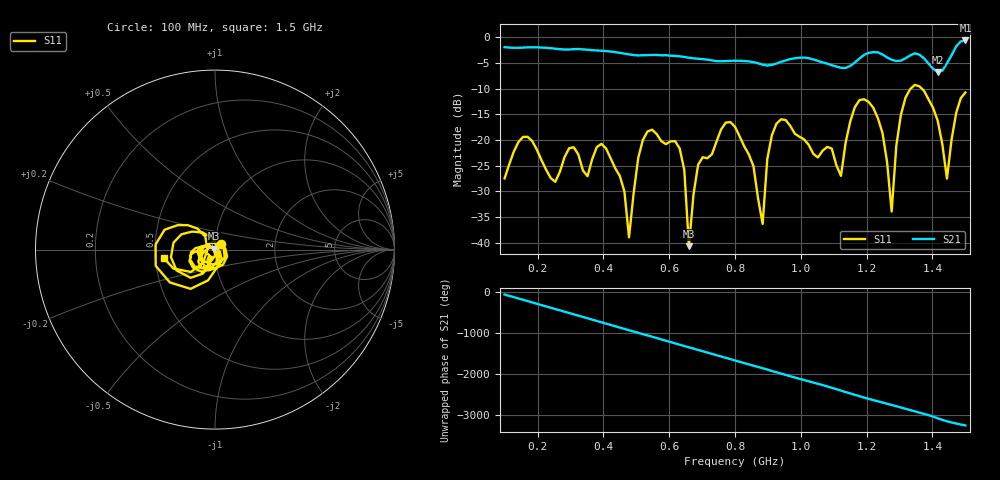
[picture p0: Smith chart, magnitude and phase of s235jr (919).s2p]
! NanoVNA-App
! Date: 2025-09-25 15:11:19
! Start: 100MHz Stop: 1,5GHz Points: 101
! S-Parameter data: F S11 S21 S12 S22
# Hz S RI R 50
!  Frequency  S11_Real  S11_Imag  S21_Real  S21_Imag  S12_Real  S12_Imag  S22_Real  S22_Imag
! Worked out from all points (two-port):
!   101 points, 100 MHz to 1.5 GHz, reference 50 ohm
!   highest |S21| = -0.66 dB at 1.5 GHz (marker M1); lowest = -6.8 dB at 1.416 GHz (marker M2)
!   |S21| within 3 dB of the highest: start of sweep to 615.4 MHz; 1.188 GHz to 1.255 GHz (66.51 MHz wide, 5.45 % of centre) (the widest 2 of 4)
!   lowest |S11| = -40.7 dB at 660 MHz (marker M3), VSWR 1.02, Z = 49.3 + j0.593 ohm
!   |S11| at or under -10 dB: start of sweep to 1.334 GHz; 1.367 GHz to end of sweep
!   S12 and S22 are empty: the file has one direction only
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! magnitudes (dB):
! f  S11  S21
! 100 MHz  -27.5  -2.0
! 156 MHz  -19.4  -2.0
! 338 MHz  -25.9  -2.4
! 408 MHz  -21.6  -2.7
! 478 MHz  -38.9  -3.4
! 520 MHz  -20.0  -3.5
! 576 MHz  -20.2  -3.5
! 632 MHz  -21.7  -3.7
! 660 MHz  -40.7  -4.0
! 688 MHz  -24.8  -4.2
! 800 MHz  -17.4  -4.6
! 884 MHz  -36.3  -5.4
! 926 MHz  -16.8  -5.2
! 1.038 GHz  -22.7  -4.3
! 1.122 GHz  -27.0  -6.0
! 1.206 GHz  -12.6  -3.1
! 1.248 GHz  -18.6  -3.4
! 1.276 GHz  -33.9  -4.4
! 1.318 GHz  -11.8  -4.1
! 1.416 GHz  -16.3  -6.8
! 1.444 GHz  -27.5  -5.1
! 1.5 GHz  -10.8  -0.7
